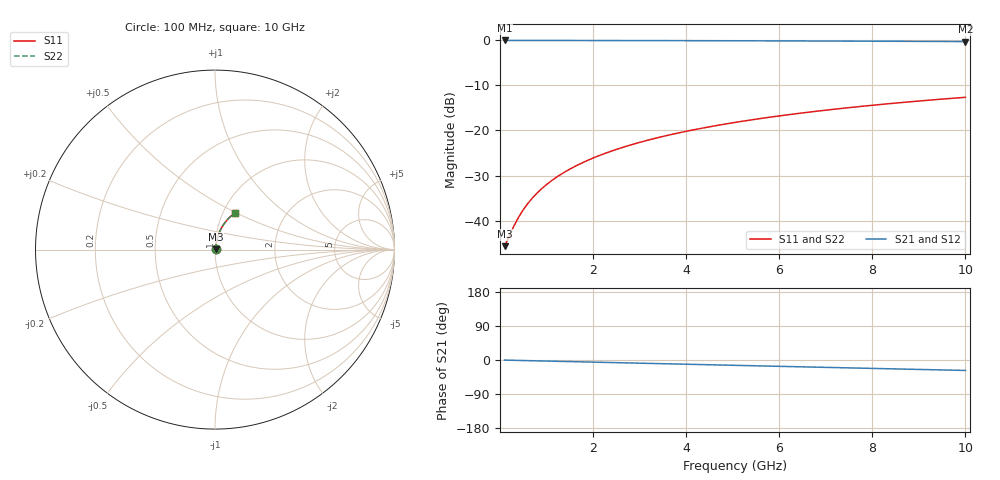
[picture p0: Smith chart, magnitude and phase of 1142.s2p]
# Hz S RI R 50.00
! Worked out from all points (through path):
!   100 points, 100 MHz to 10 GHz, reference 50 ohm
!   highest |S21| = -0.04 dB at 100 MHz (marker M1); lowest = -0.3 dB at 10 GHz (marker M2)
!   group delay of S21, straight-line fit = 7.66 ps
!   lowest |S11| = -45.7 dB at 100 MHz (marker M3), VSWR 1.01, Z = 50.5 + j0.246 ohm
!   |S11| at or under -10 dB: start of sweep to end of sweep
!   |S22| runs from -45.7 to -12.7 dB; largest |S21 - S12| = 0
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1e8  0.00459 0.00244  0.9954 -0.00486  0.9954 -0.00486  0.00459 0.00244
3e8  0.00474 0.00732  0.9952 -0.0146  0.9952 -0.0146  0.00474 0.00732
4e8  0.00484 0.00976  0.9951 -0.0194  0.9951 -0.0194  0.00484 0.00976
5e8  0.00496 0.0122  0.995 -0.0243  0.995 -0.0243  0.00496 0.0122
6e8  0.00511 0.0146  0.9948 -0.0292  0.9948 -0.0292  0.00511 0.0146
7e8  0.00527 0.0171  0.9946 -0.034  0.9946 -0.034  0.00527 0.0171
9e8  0.00567 0.0219  0.9941 -0.0437  0.9941 -0.0437  0.00567 0.0219
1e9  0.00591 0.0244  0.9938 -0.0486  0.9938 -0.0486  0.00591 0.0244
1.2e9  0.00645 0.0292  0.9931 -0.0583  0.9931 -0.0583  0.00645 0.0292
1.5e9  0.00743 0.0364  0.9919 -0.0728  0.9919 -0.0728  0.00743 0.0364
1.8e9  0.00863 0.0437  0.9904 -0.0873  0.9904 -0.0873  0.00863 0.0437
2.1e9  0.01 0.0508  0.9886 -0.1017  0.9886 -0.1017  0.01 0.0508
2.5e9  0.0122 0.0603  0.9859 -0.1209  0.9859 -0.1209  0.0122 0.0603
2.9e9  0.0148 0.0697  0.9827 -0.14  0.9827 -0.14  0.0148 0.0697
3.4e9  0.0185 0.0812  0.978 -0.1637  0.978 -0.1637  0.0185 0.0812
4.2e9  0.0255 0.0993  0.9692 -0.2011  0.9692 -0.2011  0.0255 0.0993
5.1e9  0.0351 0.1187  0.9571 -0.2425  0.9571 -0.2425  0.0351 0.1187
5.9e9  0.0449 0.1352  0.9447 -0.2785  0.9447 -0.2785  0.0449 0.1352
6.7e9  0.0559 0.1509  0.9306 -0.3136  0.9306 -0.3136  0.0559 0.1509
7.5e9  0.068 0.1655  0.915 -0.3477  0.915 -0.3477  0.068 0.1655
8.4e9  0.0829 0.1808  0.8958 -0.3849  0.8958 -0.3849  0.0829 0.1808
1e10  0.112 0.2044  0.8577 -0.4476  0.8577 -0.4476  0.112 0.2044
